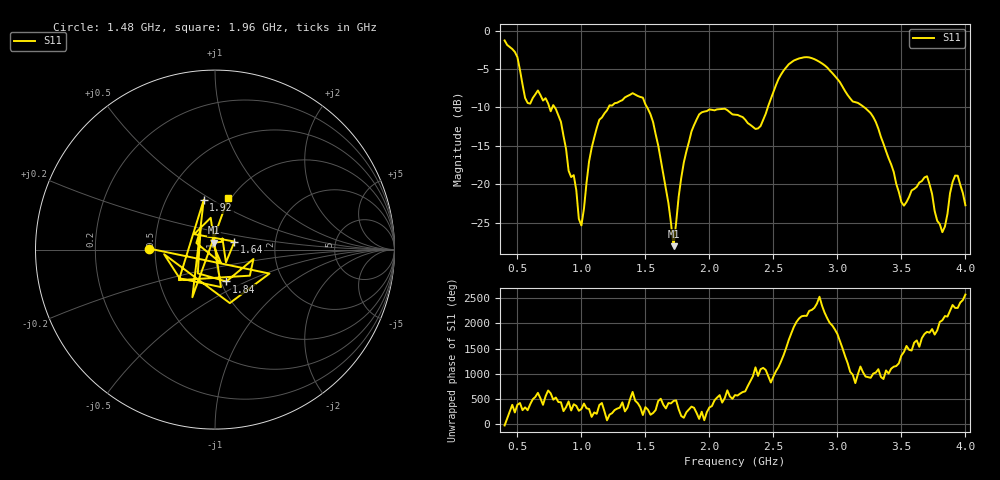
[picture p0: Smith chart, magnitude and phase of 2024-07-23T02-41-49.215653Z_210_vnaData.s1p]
!Created with skrf (http://scikit-rf.org).
# Hz S RI R 50.0
!freq ReS11 ImS11
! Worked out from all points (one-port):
!   181 points, 400 MHz to 4 GHz, reference 50 ohm
!   lowest |S11| = -28.1 dB at 1.72 GHz (marker M1), VSWR 1.08, Z = 49.2 + j3.83 ohm
!   |S11| at or under -10 dB: 791.9 MHz to 1.212 GHz (419.7 MHz wide, 41.9 % of centre); 1.514 GHz to 2.456 GHz (942.4 MHz wide, 47.5 % of centre); 3.211 GHz to end of sweep (the widest 3 of 4)
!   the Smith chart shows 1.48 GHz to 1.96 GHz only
!   S11 on the Smith chart (normalised r, x): 1.48 GHz: 0.46, +0.01; 1.64 GHz: 1.24, +0.11; 1.84 GHz: 1.06, -0.39; 1.92 GHz: 0.76, +0.46; 1.96 GHz: 0.97, +0.61
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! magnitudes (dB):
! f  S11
! 400 MHz  -1.3
! 500 MHz  -3.4
! 580 MHz  -9.4
! 660 MHz  -7.8
! 860 MHz  -13.7
! 1 GHz  -25.4
! 1.06 GHz  -17.0
! 1.12 GHz  -12.7
! 1.3 GHz  -9.2
! 1.48 GHz  -8.7
! 1.64 GHz  -18.6
! 1.72 GHz  -28.1
! 1.76 GHz  -21.6
! 1.84 GHz  -14.5
! 1.92 GHz  -10.9
! 1.96 GHz  -10.5
! 2.2 GHz  -10.9
! 2.38 GHz  -12.7
! 2.66 GHz  -3.9
! 2.88 GHz  -4.3
! 3.1 GHz  -8.8
! 3.28 GHz  -11.3
! 3.5 GHz  -22.3
! 3.56 GHz  -21.7
! 3.7 GHz  -19.0
! 3.82 GHz  -26.3
! 3.92 GHz  -18.9
! 4 GHz  -22.7
